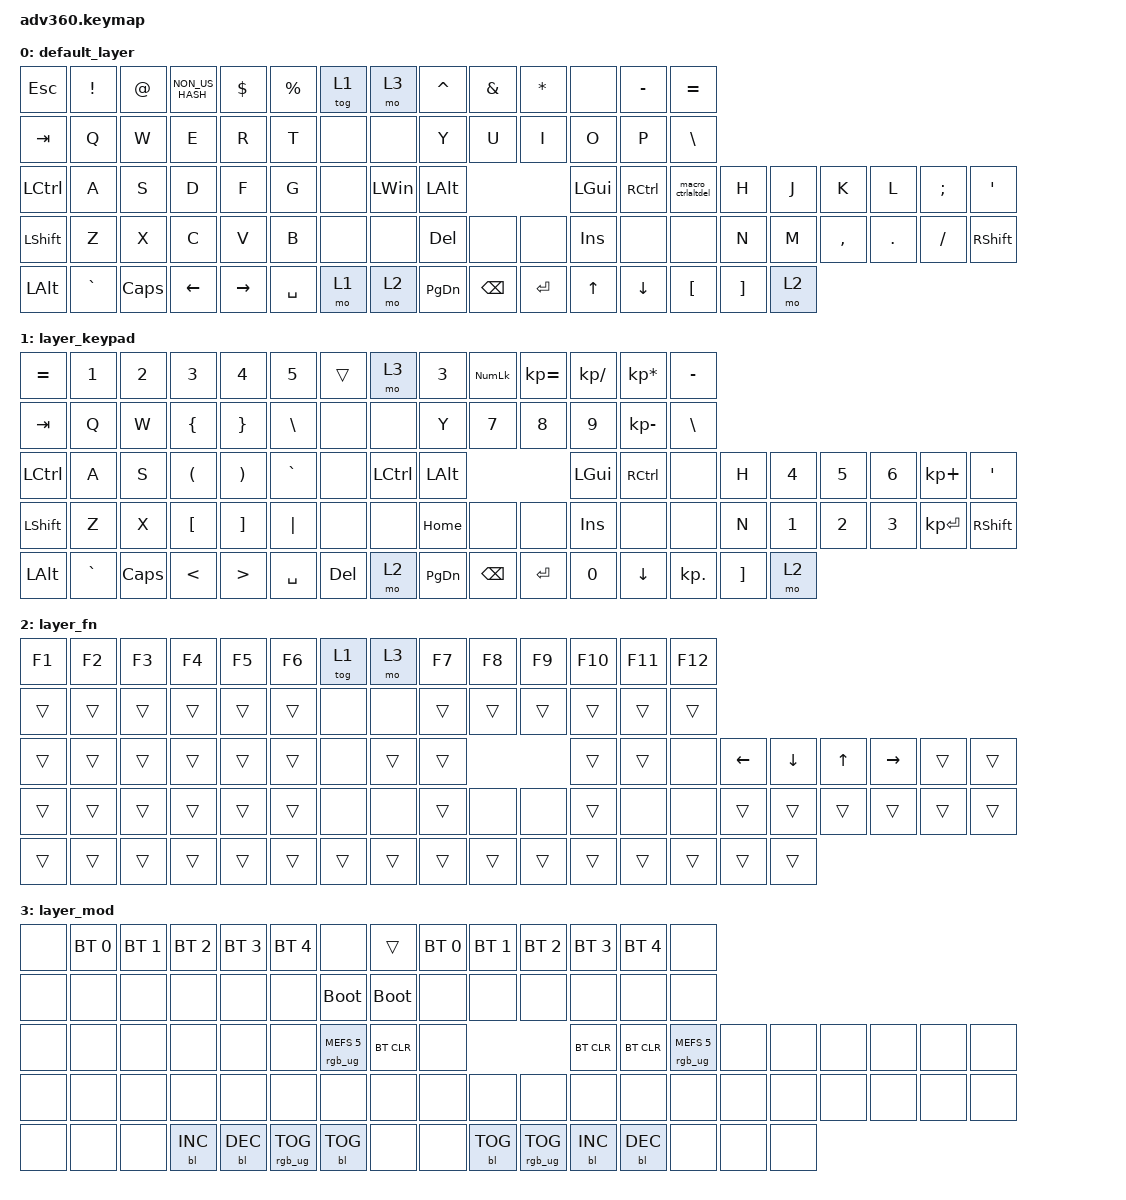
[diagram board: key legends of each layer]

/*
 * Copyright (c) 2020 The ZMK Contributors
 *
 * SPDX-License-Identifier: MIT
 */


/* THIS FILE WAS GENERATED!
 *
 * This file was generated automatically. You may or may not want to
 * edit it directly.
 */

#include <behaviors.dtsi>
#include <dt-bindings/zmk/keys.h>
#include <dt-bindings/zmk/bt.h>
#include <dt-bindings/zmk/rgb.h>
#include <dt-bindings/zmk/backlight.h>

/ {
  behaviors {
    #include "macros.dtsi"

    hm: homerow_mods {
        compatible = "zmk,behavior-hold-tap";
        label = "HOMEROW_MODS";
        #binding-cells = <2>;
        tapping-term-ms = <200>;
        quick_tap_ms = <175>;
        flavor = "tap-preferred";
        bindings = <&kp>, <&kp>;
    };
  };

    keymap {
        compatible = "zmk,keymap";


        default_layer {
            bindings = <
   &kp ESCAPE  &kp EXCLAMATION    &kp AT  &kp NON_US_HASH  &kp DOLLAR  &kp PERCENT            &tog 1         &mo 3   &kp CARET  &kp AMPERSAND  &kp ASTERISK       &none  &kp MINUS          &kp EQUAL
      &kp TAB            &kp Q     &kp W            &kp E       &kp R        &kp T             &none         &none       &kp Y          &kp U         &kp I       &kp O      &kp P      &kp BACKSLASH
    &kp LCTRL            &kp A     &kp S            &kp D       &kp F        &kp G             &none  &kp LEFT_WIN    &kp LALT                                 &kp LGUI  &kp RCTRL  &macro_ctrlaltdel     &kp H   &kp J      &kp K    &kp L  &kp SEMI    &kp SQT
    &kp LSHFT            &kp Z     &kp X            &kp C       &kp V        &kp B             &none         &none  &kp DELETE          &none         &none  &kp INSERT      &none              &none     &kp N   &kp M  &kp COMMA  &kp DOT  &kp FSLH  &kp RSHFT
 &kp LEFT_ALT        &kp GRAVE  &kp CAPS         &kp LEFT   &kp RIGHT    &kp SPACE             &mo 1         &mo 2   &kp PG_DN  &kp BACKSPACE     &kp ENTER      &kp UP   &kp DOWN           &kp LBKT  &kp RBKT   &mo 2
            >;
        };

        layer_keypad {
            bindings = <
    &kp EQUAL     &kp N1    &kp N2                &kp N3                 &kp N4         &kp N5                &trans      &mo 3  &kp NUMBER_3     &kp KP_NUM  &kp KP_EQUAL  &kp KP_DIVIDE  &kp KP_MULTIPLY   &kp MINUS
      &kp TAB      &kp Q     &kp W        &kp LEFT_BRACE        &kp RIGHT_BRACE  &kp BACKSLASH                 &none      &none         &kp Y   &kp NUMBER_7  &kp NUMBER_8   &kp NUMBER_9     &kp KP_MINUS    &kp BSLH
    &kp LCTRL      &kp A     &kp S  &kp LEFT_PARENTHESIS  &kp RIGHT_PARENTHESIS      &kp GRAVE                 &none  &kp LCTRL      &kp LALT                                    &kp LGUI        &kp RCTRL       &none     &kp H  &kp NUMBER_4  &kp NUMBER_5  &kp NUMBER_6   &kp KP_PLUS    &kp SQT
    &kp LSHFT      &kp Z     &kp X      &kp LEFT_BRACKET      &kp RIGHT_BRACKET       &kp PIPE                 &none      &none      &kp HOME          &none         &none        &kp INS            &none       &none     &kp N  &kp NUMBER_1  &kp NUMBER_2  &kp NUMBER_3  &kp KP_ENTER  &kp RSHFT
 &kp LEFT_ALT  &kp GRAVE  &kp CAPS         &kp LESS_THAN       &kp GREATER_THAN      &kp SPACE            &kp DELETE      &mo 2     &kp PG_DN  &kp BACKSPACE     &kp ENTER   &kp NUMBER_0         &kp DOWN  &kp KP_DOT  &kp RBKT         &mo 2
            >;
        };

        layer_fn {
            bindings = <
 &kp F1  &kp F2  &kp F3  &kp F4  &kp F5  &kp F6            &tog 1   &mo 3  &kp F7  &kp F8  &kp F9  &kp F10  &kp F11  &kp F12
 &trans  &trans  &trans  &trans  &trans  &trans             &none   &none  &trans  &trans  &trans   &trans   &trans   &trans
 &trans  &trans  &trans  &trans  &trans  &trans             &none  &trans  &trans                   &trans   &trans    &none  &kp LEFT_ARROW  &kp DOWN_ARROW  &kp UP_ARROW  &kp RIGHT_ARROW  &trans  &trans
 &trans  &trans  &trans  &trans  &trans  &trans             &none   &none  &trans   &none   &none   &trans    &none    &none          &trans          &trans        &trans           &trans  &trans  &trans
 &trans  &trans  &trans  &trans  &trans  &trans            &trans  &trans  &trans  &trans  &trans   &trans   &trans   &trans          &trans          &trans
            >;
        };

        layer_mod {
            bindings = <
  &none  &bt BT_SEL 0  &bt BT_SEL 1  &bt BT_SEL 2  &bt BT_SEL 3     &bt BT_SEL 4                             &none       &trans  &bt BT_SEL 0  &bt BT_SEL 1     &bt BT_SEL 2  &bt BT_SEL 3  &bt BT_SEL 4                   &none
  &none         &none         &none         &none         &none            &none                       &bootloader  &bootloader         &none         &none            &none         &none         &none                   &none
  &none         &none         &none         &none         &none            &none            &rgb_ug RGB_MEFS_CMD 5   &bt BT_CLR         &none                                   &bt BT_CLR    &bt BT_CLR  &rgb_ug RGB_MEFS_CMD 5   &none   &none   &none   &none   &none   &none
  &none         &none         &none         &none         &none            &none                             &none        &none         &none         &none            &none         &none         &none                   &none   &none   &none   &none   &none   &none   &none
  &none         &none         &none    &bl BL_INC    &bl BL_DEC  &rgb_ug RGB_TOG                        &bl BL_TOG        &none         &none    &bl BL_TOG  &rgb_ug RGB_TOG    &bl BL_INC    &bl BL_DEC                   &none   &none   &none
            >;
        };

    };
};
